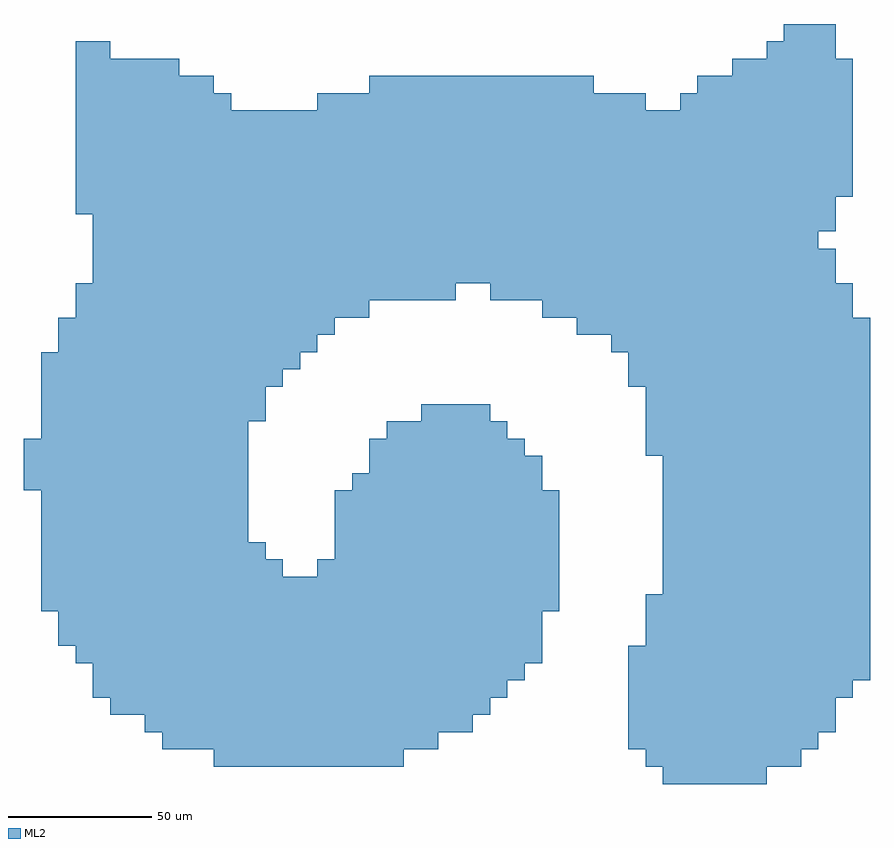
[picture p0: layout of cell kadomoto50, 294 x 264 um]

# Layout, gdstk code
import gdstk
lib = gdstk.Library(unit=1e-6, precision=1e-09)
def R(c, l, rs):  # rectangles x0, y0, x1, y1
    for r in rs: c.add(gdstk.rectangle(r[:2], r[2:], *l))
def A(c, l, x, y, w, h, nx, ny, dx, dy):  # array of equal rectangles
    R(c, l, [(x+i*dx, y+j*dy, x+i*dx+w, y+j*dy+h) for i in range(nx) for j in range(ny)])
ML2 = (14, 0)

kadomoto50 = lib.new_cell('kadomoto50')
A(kadomoto50, ML2, 216, -234, 78, 6, 1, 3, 0, 6)
A(kadomoto50, ML2, 222, -216, 72, 6, 1, 8, 0, 6)
A(kadomoto50, ML2, 108, -204, 78, 6, 1, 4, 0, 6)
A(kadomoto50, ML2, 6, -198, 72, 6, 1, 3, 0, 6)
A(kadomoto50, ML2, 0, -180, 78, 6, 1, 3, 0, 6)
A(kadomoto50, ML2, 216, -168, 78, 6, 1, 4, 0, 6)
A(kadomoto50, ML2, 18, -78, 270, 6, 1, 5, 0, 6)
R(kadomoto50, ML2, [(222,-282,258,-276), (66,-276,132,-270), (216,-276,270,-270), (48,-270,144,-264), (210,-270,276,-264), (42,-264,156,-258), (210,-264,282,-258), (30,-258,162,-252), (210,-258,282,-252), (24,-252,168,-246), (210,-252,288,-246), (24,-246,174,-240), (210,-246,294,-240), (18,-240,180,-234), (210,-240,294,-234), (12,-234,180,-228), (12,-228,180,-222), (6,-222,186,-216), (6,-216,186,-210), (6,-210,90,-204), (102,-210,186,-204), (6,-204,84,-198), (114,-180,180,-174), (120,-174,180,-168), (120,-168,174,-162), (6,-162,78,-156), (126,-162,168,-156), (6,-156,84,-150), (138,-156,162,-150), (6,-150,84,-144), (6,-144,90,-138), (210,-144,294,-138), (6,-138,96,-132), (210,-138,294,-132), (12,-132,102,-126), (204,-132,294,-126), (12,-126,108,-120), (192,-126,294,-120), (18,-120,120,-114), (180,-120,288,-114), (18,-114,150,-108), (162,-114,288,-108), (24,-108,282,-102), (24,-102,282,-96), (24,-96,276,-90), (24,-90,282,-84), (18,-84,282,-78), (18,-48,72,-42), (102,-48,216,-42), (228,-48,288,-42), (18,-42,66,-36), (120,-42,198,-36), (234,-42,288,-36), (18,-36,54,-30), (246,-36,288,-30), (18,-30,30,-24), (258,-30,282,-24), (264,-24,282,-18)])

lib.write_gds('kadomoto50.gds')
